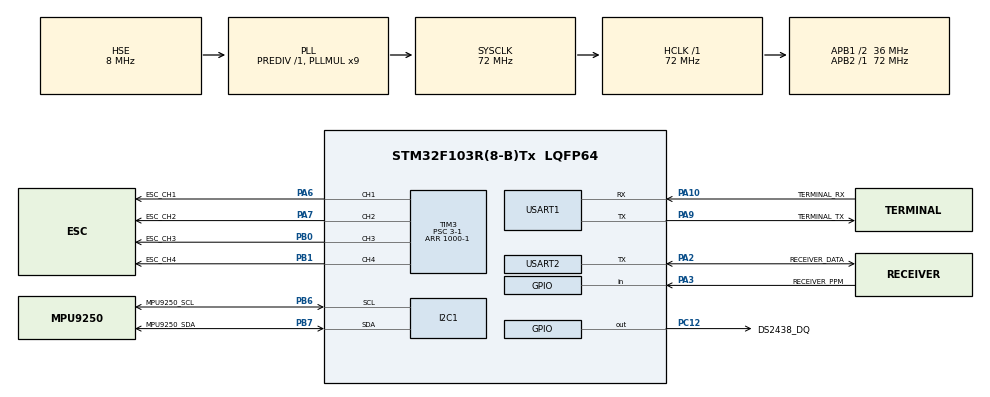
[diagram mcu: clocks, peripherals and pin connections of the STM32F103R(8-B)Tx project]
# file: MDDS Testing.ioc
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Dma.I2C1_RX.1.Direction=DMA_PERIPH_TO_MEMORY
Dma.I2C1_RX.1.Instance=DMA1_Channel7
Dma.I2C1_RX.1.MemDataAlignment=DMA_MDATAALIGN_BYTE
Dma.I2C1_RX.1.MemInc=DMA_MINC_ENABLE
Dma.I2C1_RX.1.Mode=DMA_NORMAL
Dma.I2C1_RX.1.PeriphDataAlignment=DMA_PDATAALIGN_BYTE
Dma.I2C1_RX.1.PeriphInc=DMA_PINC_DISABLE
Dma.I2C1_RX.1.Priority=DMA_PRIORITY_LOW
Dma.Request0=USART2_RX
Dma.Request1=I2C1_RX
Dma.USART2_RX.0.Direction=DMA_PERIPH_TO_MEMORY
Dma.USART2_RX.0.Instance=DMA1_Channel6
Dma.USART2_RX.0.MemDataAlignment=DMA_MDATAALIGN_BYTE
Dma.USART2_RX.0.MemInc=DMA_MINC_ENABLE
Dma.USART2_RX.0.Mode=DMA_CIRCULAR
Dma.USART2_RX.0.PeriphDataAlignment=DMA_PDATAALIGN_BYTE
Dma.USART2_RX.0.PeriphInc=DMA_PINC_DISABLE
Dma.USART2_RX.0.Priority=DMA_PRIORITY_VERY_HIGH
I2C1.I2C_Mode=I2C_Fast
Mcu.Family=STM32F1
Mcu.Name=STM32F103R(8-B)Tx
Mcu.Package=LQFP64
NVIC.DMA1_Channel6_IRQn=true\:0\:0\:false\:false\:true\:false\:true\:true
NVIC.DMA1_Channel7_IRQn=true\:0\:0\:false\:false\:true\:false\:true\:true
NVIC.I2C1_ER_IRQn=true\:1\:0\:true\:false\:true\:true\:true\:true
NVIC.I2C1_EV_IRQn=true\:1\:0\:true\:false\:true\:true\:true\:true
NVIC.PriorityGroup=NVIC_PRIORITYGROUP_4
NVIC.TIM1_UP_IRQn=true\:0\:0\:false\:false\:true\:true\:true\:true
NVIC.USART2_IRQn=true\:0\:0\:false\:false\:true\:true\:true\:true
PA10.GPIO_Label=TERMINAL_RX
PA10.Mode=Asynchronous
PA10.Signal=USART1_RX
PA13.Mode=Serial_Wire
PA13.Signal=SYS_JTMS-SWDIO
PA14.Mode=Serial_Wire
PA14.Signal=SYS_JTCK-SWCLK
PA2.GPIO_Label=RECEIVER_DATA
PA2.Mode=Half_duplex(single_wire_mode)
PA2.Signal=USART2_TX
PA3.GPIO_Label=RECEIVER_PPM
PA3.Signal=GPIO_Input
PA6.GPIO_Label=ESC_CH1
PA6.Signal=S_TIM3_CH1
PA7.GPIO_Label=ESC_CH2
PA7.Signal=S_TIM3_CH2
PA9.GPIO_Label=TERMINAL_TX
PA9.Mode=Asynchronous
PA9.Signal=USART1_TX
PB0.GPIO_Label=ESC_CH3
PB0.Signal=S_TIM3_CH3
PB1.GPIO_Label=ESC_CH4
PB1.Signal=S_TIM3_CH4
PB6.GPIO_Label=MPU9250_SCL
PB6.Mode=I2C
PB6.Signal=I2C1_SCL
PB7.GPIO_Label=MPU9250_SDA
PB7.Mode=I2C
PB7.Signal=I2C1_SDA
PC12.GPIO_Label=DS2438_DQ
PC12.GPIO_ModeDefaultOutputPP=GPIO_MODE_OUTPUT_OD
PC12.GPIO_PuPd=GPIO_NOPULL
PC12.GPIO_Speed=GPIO_SPEED_FREQ_HIGH
PC12.Signal=GPIO_Output
PC14-OSC32_IN.Mode=LSE-External-Oscillator
PC14-OSC32_IN.Signal=RCC_OSC32_IN
PC15-OSC32_OUT.Mode=LSE-External-Oscillator
PC15-OSC32_OUT.Signal=RCC_OSC32_OUT
PD0-OSC_IN.Mode=HSE-External-Oscillator
PD0-OSC_IN.Signal=RCC_OSC_IN
PD1-OSC_OUT.Mode=HSE-External-Oscillator
PD1-OSC_OUT.Signal=RCC_OSC_OUT
ProjectManager.HeapSize=0x200
ProjectManager.StackSize=0x400
ProjectManager.TargetToolchain=MDK-ARM V5.32
RCC.AHBFreq_Value=72000000
RCC.APB1CLKDivider=RCC_HCLK_DIV2
RCC.APB1Freq_Value=36000000
RCC.APB1TimFreq_Value=72000000
RCC.APB2Freq_Value=72000000
RCC.APB2TimFreq_Value=72000000
RCC.HCLKFreq_Value=72000000
RCC.LockedElements=AHBOutput
RCC.PLLMUL=RCC_PLL_MUL9
RCC.PLLSourceVirtual=RCC_PLLSOURCE_HSE
RCC.SYSCLKFreq_VALUE=72000000
RCC.SYSCLKSource=RCC_SYSCLKSOURCE_PLLCLK
RCC.USBFreq_Value=72000000
SH.S_TIM3_CH1.0=TIM3_CH1,PWM Generation1 CH1
SH.S_TIM3_CH2.0=TIM3_CH2,PWM Generation2 CH2
SH.S_TIM3_CH3.0=TIM3_CH3,PWM Generation3 CH3
SH.S_TIM3_CH4.0=TIM3_CH4,PWM Generation4 CH4
TIM1.Period=5000-1
TIM1.Prescaler=7200-1
TIM2.Prescaler=72-1
TIM3.Channel-PWM\ Generation1\ CH1=TIM_CHANNEL_1
TIM3.Channel-PWM\ Generation2\ CH2=TIM_CHANNEL_2
TIM3.Channel-PWM\ Generation3\ CH3=TIM_CHANNEL_3
TIM3.Channel-PWM\ Generation4\ CH4=TIM_CHANNEL_4
TIM3.OCFastMode_PWM-PWM\ Generation1\ CH1=TIM_OCFAST_ENABLE
TIM3.OCFastMode_PWM-PWM\ Generation2\ CH2=TIM_OCFAST_ENABLE
TIM3.OCFastMode_PWM-PWM\ Generation3\ CH3=TIM_OCFAST_ENABLE
TIM3.OCFastMode_PWM-PWM\ Generation4\ CH4=TIM_OCFAST_ENABLE
TIM3.Period=1000-1
TIM3.Prescaler=3-1
TIM4.Prescaler=72-1
USART1.VirtualMode=VM_ASYNC
USART2.VirtualMode=VM_ASYNC
VP_TIM1_VS_ClockSourceINT.Mode=Internal
VP_TIM2_VS_ClockSourceINT.Mode=Internal
VP_TIM4_VS_ClockSourceINT.Mode=Internal
board=custom

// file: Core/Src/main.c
/* USER CODE BEGIN Header */
/**
  ******************************************************************************
  * @file           : main.c
  * @brief          : Main program body
  ******************************************************************************
  * @attention
  *
  * Copyright (c) 2023 STMicroelectronics.
  * All rights reserved.
  *
  * This software is licensed under terms that can be found in the LICENSE file
  * in the root directory of this software component.
  * If no LICENSE file comes with this software, it is provided AS-IS.
  *
  ******************************************************************************
  */
/* USER CODE END Header */
#include "main.h"

/* USER CODE BEGIN Includes */
#include <stdio.h>
#include <string.h>
#include "MPU9250V2.h"
#include "DS2438.h"
#include "receiver.h"
/* USER CODE END Includes */

/* USER CODE BEGIN PTD */
typedef enum Sensors
{
  MPU9250 = 0,
  DS2438 = 1,
  RECEIVER = 2,
  DATA_TRANSMIT = 3
} Sensors;
/* USER CODE END PTD */

I2C_HandleTypeDef hi2c1;
DMA_HandleTypeDef hdma_i2c1_rx;

TIM_HandleTypeDef htim1;
TIM_HandleTypeDef htim2;
TIM_HandleTypeDef htim3;
TIM_HandleTypeDef htim4;

UART_HandleTypeDef huart1;
UART_HandleTypeDef huart2;
DMA_HandleTypeDef hdma_usart2_rx;

/* USER CODE BEGIN PV */

char txt[100];

/* USER CODE END PV */

void SystemClock_Config(void);
static void MX_GPIO_Init(void);
static void MX_DMA_Init(void);
static void MX_TIM1_Init(void);
static void MX_TIM2_Init(void);
static void MX_USART1_UART_Init(void);
static void MX_USART2_UART_Init(void);
static void MX_I2C1_Init(void);
static void MX_TIM3_Init(void);
static void MX_TIM4_Init(void);
/* USER CODE BEGIN PFP */

/**
 * @brief This funciton completly stops the program
 * @param sens what sensor has the error
 * @param errorCode
 * @retval None
 */
void Sensor_ErrorHandler(Sensors sens, int8_t errorCode);

/* USER CODE END PFP */

/* USER CODE BEGIN 0 */

/**
 * @brief This funciton completly stops the program
 * @param sens what sensor has the error
 * @param errorCode
 * @retval None
 */
void Sensor_ErrorHandler(Sensors sens, int8_t errorCode)
{
  char txt[100];
  switch(sens)
  {
    case MPU9250:
      sprintf(txt, "MPU9250 ERROR | Code: %d\n\r", errorCode);
      break;

    case DS2438:
      sprintf(txt, "DS2438 ERROR | Code: %d\n\r", errorCode);
      break;

    case RECEIVER:
      sprintf(txt, "RECEIVER ERROR | Code: %d\n\r", errorCode);
      break;

    case DATA_TRANSMIT:
      sprintf(txt, "DATA TRANSMIT ERROR | Code: %d\n\r", errorCode);
      break;

    default:
      sprintf(txt, "wrong sensor ERROR | Code: %d\n\r", errorCode);
      break;
  }
  HAL_UART_Transmit(&huart1, (uint8_t *)&txt, strlen(txt), HAL_MAX_DELAY);

  __disable_irq();
  while(1);
}

void HAL_TIM_PeriodElapsedCallback(TIM_HandleTypeDef *htim)
{
  if(htim->Instance == TIM1)
  {
    // ---------------- MPU9250 ----------------
    // MPU9250 data output

    sprintf(txt, "accel:\t%.3f  %.3f  %.3f\n\r", accel.x, accel.y, accel.z);
    HAL_UART_Transmit(&huart1, (uint8_t *)&txt, strlen(txt), HAL_MAX_DELAY);

    sprintf(txt, "gyro:\t%.3f  %.3f  %.3f\n\r", gyro.x, gyro.y, gyro.z);
    HAL_UART_Transmit(&huart1, (uint8_t *)&txt, strlen(txt), HAL_MAX_DELAY);

    sprintf(txt, "temp:\t%f\n\r", temp);
    HAL_UART_Transmit(&huart1, (uint8_t *)&txt, strlen(txt), HAL_MAX_DELAY);

    sprintf(txt, "filter: %.3f  %.3f\n\n\r", fusion.pitch, fusion.roll);
    HAL_UART_Transmit(&huart1, (uint8_t *)&txt, strlen(txt), HAL_MAX_DELAY);

    // ---------------------------------------------

    // ------------------ RECEIVER ------------------

    // Receiver_OutputChValues(&huart1);

    // int8_t tmp = Receiver_MotorControl();
    // if(tmp != RECEIVER_OK)
    // {
    //   sprintf(txt, "Receiver Error: %d\n\r", tmp);
    //   HAL_UART_Transmit(&huart1, (uint8_t *)&txt, strlen(txt), HAL_MAX_DELAY);

    //   if(tmp == IBUS_SIGNAL_LOST_ERROR || tmp == SBUS_SIGNAL_LOST || tmp == SBUS_SIGNAL_FAILSAFE)
    //   {
    //     Receiver_SignalLostHandler();
    //   }
    // }

    // -----------------------------------------------
  }
}

// MPU9250 circular dma operation
void HAL_I2C_MemRxCpltCallback(I2C_HandleTypeDef *hi2c)
{
  if(hi2c->Instance == mpu9250_InputI2C->Instance)
  {
    MPU9250_CalcValues();   // convert raw data in actual data
    MPU9250_CompFilter();   // calculate angles

    MPU9250_StartReading(); // restart reading
  }
}

void HAL_UART_RxCpltCallback(UART_HandleTypeDef *huart)
{
  if(huart->Instance == receiver_InputUART->Instance)
  {
    Receiver_SaveChannelData();
  }
}

/* USER CODE END 0 */

int main(void)
{

  /* MCU Configuration--------------------------------------------------------*/

  /* Reset of all peripherals, Initializes the Flash interface and the Systick. */
  HAL_Init();

  /* Configure the system clock */
  SystemClock_Config();

  /* Initialize all configured peripherals */
  MX_GPIO_Init();
  MX_DMA_Init();
  MX_TIM1_Init();
  MX_TIM2_Init();
  MX_USART1_UART_Init();
  MX_USART2_UART_Init();
  MX_I2C1_Init();
  MX_TIM3_Init();
  MX_TIM4_Init();
  /* USER CODE BEGIN 2 */

  int8_t errorCode;

  // initialize MPU9250
  errorCode = MPU9250_Init(&hi2c1, DLPF_184Hz, GYRO_2000DPS, ACCEL_16G, &htim2);
  if(errorCode != MPU9250_OK)
    Sensor_ErrorHandler(MPU9250, errorCode);
  HAL_UART_Transmit(&huart1, (uint8_t *)"MPU9250 detected and configured\n\r", sizeof("MPU9250 detected and configured\n\r"), HAL_MAX_DELAY);

  // initliaze DS2438
  // errorCode = DS2438_Init(&htim4);
  // if(errorCode != DS2438_OK)
  //   Sensor_ErrorHandler(DS2438, errorCode);
  // HAL_UART_Transmit(&huart1, (uint8_t *)"DS2438 detected\n\r", sizeof("DS2438 detected\n\r"), HAL_MAX_DELAY);

  // start MPU9250 I2C DMA read cycle
  errorCode = MPU9250_StartReading();
  if(errorCode != MPU9250_OK)
    Sensor_ErrorHandler(MPU9250, errorCode);

  // initialize receiver reception with DMA
  // errorCode = Receiver_Init(IBUS, &huart2, &htim3);
  // if(errorCode != RECEIVER_OK)
  //   Sensor_ErrorHandler(RECEIVER, errorCode);
  // HAL_UART_Transmit(&huart1, (uint8_t *)"Receiver detected and calibrated\n\r", sizeof("Receiver detected and calibrated\n\r"), HAL_MAX_DELAY);

  // test motors
  // Receiver_MotorTest(&htim3);

  // start timer 1 counter + interrupt (real time structure)
  HAL_TIM_Base_Start_IT(&htim1);

  /* USER CODE END 2 */

  /* Infinite loop */
  while(1)
  {

  }
}

void SystemClock_Config(void)
{
  RCC_OscInitTypeDef RCC_OscInitStruct = {0};
  RCC_ClkInitTypeDef RCC_ClkInitStruct = {0};

  /** Initializes the RCC Oscillators according to the specified parameters
  * in the RCC_OscInitTypeDef structure.
  */
  RCC_OscInitStruct.OscillatorType = RCC_OSCILLATORTYPE_HSE;
  RCC_OscInitStruct.HSEState = RCC_HSE_ON;
  RCC_OscInitStruct.HSEPredivValue = RCC_HSE_PREDIV_DIV1;
  RCC_OscInitStruct.HSIState = RCC_HSI_ON;
  RCC_OscInitStruct.PLL.PLLState = RCC_PLL_ON;
  RCC_OscInitStruct.PLL.PLLSource = RCC_PLLSOURCE_HSE;
  RCC_OscInitStruct.PLL.PLLMUL = RCC_PLL_MUL9;
  if (HAL_RCC_OscConfig(&RCC_OscInitStruct) != HAL_OK)
  {
    Error_Handler();
  }

  /** Initializes the CPU, AHB and APB buses clocks
  */
  RCC_ClkInitStruct.ClockType = RCC_CLOCKTYPE_HCLK|RCC_CLOCKTYPE_SYSCLK
                              |RCC_CLOCKTYPE_PCLK1|RCC_CLOCKTYPE_PCLK2;
  RCC_ClkInitStruct.SYSCLKSource = RCC_SYSCLKSOURCE_PLLCLK;
  RCC_ClkInitStruct.AHBCLKDivider = RCC_SYSCLK_DIV1;
  RCC_ClkInitStruct.APB1CLKDivider = RCC_HCLK_DIV2;
  RCC_ClkInitStruct.APB2CLKDivider = RCC_HCLK_DIV1;

  if (HAL_RCC_ClockConfig(&RCC_ClkInitStruct, FLASH_LATENCY_2) != HAL_OK)
  {
    Error_Handler();
  }
}

static void MX_I2C1_Init(void)
{

  hi2c1.Instance = I2C1;
  hi2c1.Init.ClockSpeed = 400000;
  hi2c1.Init.DutyCycle = I2C_DUTYCYCLE_2;
  hi2c1.Init.OwnAddress1 = 0;
  hi2c1.Init.AddressingMode = I2C_ADDRESSINGMODE_7BIT;
  hi2c1.Init.DualAddressMode = I2C_DUALADDRESS_DISABLE;
  hi2c1.Init.OwnAddress2 = 0;
  hi2c1.Init.GeneralCallMode = I2C_GENERALCALL_DISABLE;
  hi2c1.Init.NoStretchMode = I2C_NOSTRETCH_DISABLE;
  if (HAL_I2C_Init(&hi2c1) != HAL_OK)
  {
    Error_Handler();
  }

}

static void MX_TIM1_Init(void)
{

  TIM_ClockConfigTypeDef sClockSourceConfig = {0};
  TIM_MasterConfigTypeDef sMasterConfig = {0};

  htim1.Instance = TIM1;
  htim1.Init.Prescaler = 7200-1;
  htim1.Init.CounterMode = TIM_COUNTERMODE_UP;
  htim1.Init.Period = 5000-1;
  htim1.Init.ClockDivision = TIM_CLOCKDIVISION_DIV1;
  htim1.Init.RepetitionCounter = 0;
  htim1.Init.AutoReloadPreload = TIM_AUTORELOAD_PRELOAD_DISABLE;
  if (HAL_TIM_Base_Init(&htim1) != HAL_OK)
  {
    Error_Handler();
  }
  sClockSourceConfig.ClockSource = TIM_CLOCKSOURCE_INTERNAL;
  if (HAL_TIM_ConfigClockSource(&htim1, &sClockSourceConfig) != HAL_OK)
  {
    Error_Handler();
  }
  sMasterConfig.MasterOutputTrigger = TIM_TRGO_RESET;
  sMasterConfig.MasterSlaveMode = TIM_MASTERSLAVEMODE_DISABLE;
  if (HAL_TIMEx_MasterConfigSynchronization(&htim1, &sMasterConfig) != HAL_OK)
  {
    Error_Handler();
  }

}

static void MX_TIM2_Init(void)
{

  TIM_ClockConfigTypeDef sClockSourceConfig = {0};
  TIM_MasterConfigTypeDef sMasterConfig = {0};

  htim2.Instance = TIM2;
  htim2.Init.Prescaler = 72-1;
  htim2.Init.CounterMode = TIM_COUNTERMODE_UP;
  htim2.Init.Period = 65535;
  htim2.Init.ClockDivision = TIM_CLOCKDIVISION_DIV1;
  htim2.Init.AutoReloadPreload = TIM_AUTORELOAD_PRELOAD_DISABLE;
  if (HAL_TIM_Base_Init(&htim2) != HAL_OK)
  {
    Error_Handler();
  }
  sClockSourceConfig.ClockSource = TIM_CLOCKSOURCE_INTERNAL;
  if (HAL_TIM_ConfigClockSource(&htim2, &sClockSourceConfig) != HAL_OK)
  {
    Error_Handler();
  }
  sMasterConfig.MasterOutputTrigger = TIM_TRGO_RESET;
  sMasterConfig.MasterSlaveMode = TIM_MASTERSLAVEMODE_DISABLE;
  if (HAL_TIMEx_MasterConfigSynchronization(&htim2, &sMasterConfig) != HAL_OK)
  {
    Error_Handler();
  }

}

static void MX_TIM3_Init(void)
{

  TIM_MasterConfigTypeDef sMasterConfig = {0};
  TIM_OC_InitTypeDef sConfigOC = {0};

  htim3.Instance = TIM3;
  htim3.Init.Prescaler = 3-1;
  htim3.Init.CounterMode = TIM_COUNTERMODE_UP;
  htim3.Init.Period = 1000-1;
  htim3.Init.ClockDivision = TIM_CLOCKDIVISION_DIV1;
  htim3.Init.AutoReloadPreload = TIM_AUTORELOAD_PRELOAD_DISABLE;
  if (HAL_TIM_PWM_Init(&htim3) != HAL_OK)
  {
    Error_Handler();
  }
  sMasterConfig.MasterOutputTrigger = TIM_TRGO_RESET;
  sMasterConfig.MasterSlaveMode = TIM_MASTERSLAVEMODE_DISABLE;
  if (HAL_TIMEx_MasterConfigSynchronization(&htim3, &sMasterConfig) != HAL_OK)
  {
    Error_Handler();
  }
  sConfigOC.OCMode = TIM_OCMODE_PWM1;
  sConfigOC.Pulse = 0;
  sConfigOC.OCPolarity = TIM_OCPOLARITY_HIGH;
  sConfigOC.OCFastMode = TIM_OCFAST_ENABLE;
  if (HAL_TIM_PWM_ConfigChannel(&htim3, &sConfigOC, TIM_CHANNEL_1) != HAL_OK)
  {
    Error_Handler();
  }
  if (HAL_TIM_PWM_ConfigChannel(&htim3, &sConfigOC, TIM_CHANNEL_2) != HAL_OK)
  {
    Error_Handler();
  }
  if (HAL_TIM_PWM_ConfigChannel(&htim3, &sConfigOC, TIM_CHANNEL_3) != HAL_OK)
  {
    Error_Handler();
  }
  if (HAL_TIM_PWM_ConfigChannel(&htim3, &sConfigOC, TIM_CHANNEL_4) != HAL_OK)
  {
    Error_Handler();
  }
  HAL_TIM_MspPostInit(&htim3);

}

static void MX_TIM4_Init(void)
{

  TIM_ClockConfigTypeDef sClockSourceConfig = {0};
  TIM_MasterConfigTypeDef sMasterConfig = {0};

  htim4.Instance = TIM4;
  htim4.Init.Prescaler = 72-1;
  htim4.Init.CounterMode = TIM_COUNTERMODE_UP;
  htim4.Init.Period = 65535;
  htim4.Init.ClockDivision = TIM_CLOCKDIVISION_DIV1;
  htim4.Init.AutoReloadPreload = TIM_AUTORELOAD_PRELOAD_DISABLE;
  if (HAL_TIM_Base_Init(&htim4) != HAL_OK)
  {
    Error_Handler();
  }
  sClockSourceConfig.ClockSource = TIM_CLOCKSOURCE_INTERNAL;
  if (HAL_TIM_ConfigClockSource(&htim4, &sClockSourceConfig) != HAL_OK)
  {
    Error_Handler();
  }
  sMasterConfig.MasterOutputTrigger = TIM_TRGO_RESET;
  sMasterConfig.MasterSlaveMode = TIM_MASTERSLAVEMODE_DISABLE;
  if (HAL_TIMEx_MasterConfigSynchronization(&htim4, &sMasterConfig) != HAL_OK)
  {
    Error_Handler();
  }

}

static void MX_USART1_UART_Init(void)
{

  huart1.Instance = USART1;
  huart1.Init.BaudRate = 115200;
  huart1.Init.WordLength = UART_WORDLENGTH_8B;
  huart1.Init.StopBits = UART_STOPBITS_1;
  huart1.Init.Parity = UART_PARITY_NONE;
  huart1.Init.Mode = UART_MODE_TX_RX;
  huart1.Init.HwFlowCtl = UART_HWCONTROL_NONE;
  huart1.Init.OverSampling = UART_OVERSAMPLING_16;
  if (HAL_UART_Init(&huart1) != HAL_OK)
  {
    Error_Handler();
  }

}

static void MX_USART2_UART_Init(void)
{

  huart2.Instance = USART2;
  huart2.Init.BaudRate = 115200;
  huart2.Init.WordLength = UART_WORDLENGTH_8B;
  huart2.Init.StopBits = UART_STOPBITS_1;
  huart2.Init.Parity = UART_PARITY_NONE;
  huart2.Init.Mode = UART_MODE_TX_RX;
  huart2.Init.HwFlowCtl = UART_HWCONTROL_NONE;
  huart2.Init.OverSampling = UART_OVERSAMPLING_16;
  if (HAL_HalfDuplex_Init(&huart2) != HAL_OK)
  {
    Error_Handler();
  }

}

static void MX_DMA_Init(void)
{

  /* DMA controller clock enable */
  __HAL_RCC_DMA1_CLK_ENABLE();

  /* DMA interrupt init */
  /* DMA1_Channel6_IRQn interrupt configuration */
  HAL_NVIC_SetPriority(DMA1_Channel6_IRQn, 0, 0);
  HAL_NVIC_EnableIRQ(DMA1_Channel6_IRQn);
  /* DMA1_Channel7_IRQn interrupt configuration */
  HAL_NVIC_SetPriority(DMA1_Channel7_IRQn, 0, 0);
  HAL_NVIC_EnableIRQ(DMA1_Channel7_IRQn);

}

static void MX_GPIO_Init(void)
{
  GPIO_InitTypeDef GPIO_InitStruct = {0};

  /* GPIO Ports Clock Enable */
  __HAL_RCC_GPIOC_CLK_ENABLE();
  __HAL_RCC_GPIOD_CLK_ENABLE();
  __HAL_RCC_GPIOA_CLK_ENABLE();
  __HAL_RCC_GPIOB_CLK_ENABLE();

  /*Configure GPIO pin Output Level */
  HAL_GPIO_WritePin(DS2438_DQ_GPIO_Port, DS2438_DQ_Pin, GPIO_PIN_RESET);

  /*Configure GPIO pins : PC13 PC0 PC1 PC2
                           PC3 PC4 PC5 PC6
                           PC7 PC8 PC9 PC10
                           PC11 */
  GPIO_InitStruct.Pin = GPIO_PIN_13|GPIO_PIN_0|GPIO_PIN_1|GPIO_PIN_2
                          |GPIO_PIN_3|GPIO_PIN_4|GPIO_PIN_5|GPIO_PIN_6
                          |GPIO_PIN_7|GPIO_PIN_8|GPIO_PIN_9|GPIO_PIN_10
                          |GPIO_PIN_11;
  GPIO_InitStruct.Mode = GPIO_MODE_ANALOG;
  HAL_GPIO_Init(GPIOC, &GPIO_InitStruct);

  /*Configure GPIO pins : PA0 PA1 PA4 PA5
                           PA8 PA11 PA12 PA15 */
  GPIO_InitStruct.Pin = GPIO_PIN_0|GPIO_PIN_1|GPIO_PIN_4|GPIO_PIN_5
                          |GPIO_PIN_8|GPIO_PIN_11|GPIO_PIN_12|GPIO_PIN_15;
  GPIO_InitStruct.Mode = GPIO_MODE_ANALOG;
  HAL_GPIO_Init(GPIOA, &GPIO_InitStruct);

  /*Configure GPIO pin : RECEIVER_PPM_Pin */
  GPIO_InitStruct.Pin = RECEIVER_PPM_Pin;
  GPIO_InitStruct.Mode = GPIO_MODE_INPUT;
  GPIO_InitStruct.Pull = GPIO_NOPULL;
  HAL_GPIO_Init(RECEIVER_PPM_GPIO_Port, &GPIO_InitStruct);

  /*Configure GPIO pins : PB2 PB10 PB11 PB12
                           PB13 PB14 PB15 PB3
                           PB4 PB5 PB8 PB9 */
  GPIO_InitStruct.Pin = GPIO_PIN_2|GPIO_PIN_10|GPIO_PIN_11|GPIO_PIN_12
                          |GPIO_PIN_13|GPIO_PIN_14|GPIO_PIN_15|GPIO_PIN_3
                          |GPIO_PIN_4|GPIO_PIN_5|GPIO_PIN_8|GPIO_PIN_9;
  GPIO_InitStruct.Mode = GPIO_MODE_ANALOG;
  HAL_GPIO_Init(GPIOB, &GPIO_InitStruct);

  /*Configure GPIO pin : DS2438_DQ_Pin */
  GPIO_InitStruct.Pin = DS2438_DQ_Pin;
  GPIO_InitStruct.Mode = GPIO_MODE_OUTPUT_OD;
  GPIO_InitStruct.Pull = GPIO_NOPULL;
  GPIO_InitStruct.Speed = GPIO_SPEED_FREQ_HIGH;
  HAL_GPIO_Init(DS2438_DQ_GPIO_Port, &GPIO_InitStruct);

  /*Configure GPIO pin : PD2 */
  GPIO_InitStruct.Pin = GPIO_PIN_2;
  GPIO_InitStruct.Mode = GPIO_MODE_ANALOG;
  HAL_GPIO_Init(GPIOD, &GPIO_InitStruct);

}

void Error_Handler(void)
{
  __disable_irq();
  while(1)
  {
  }
}
